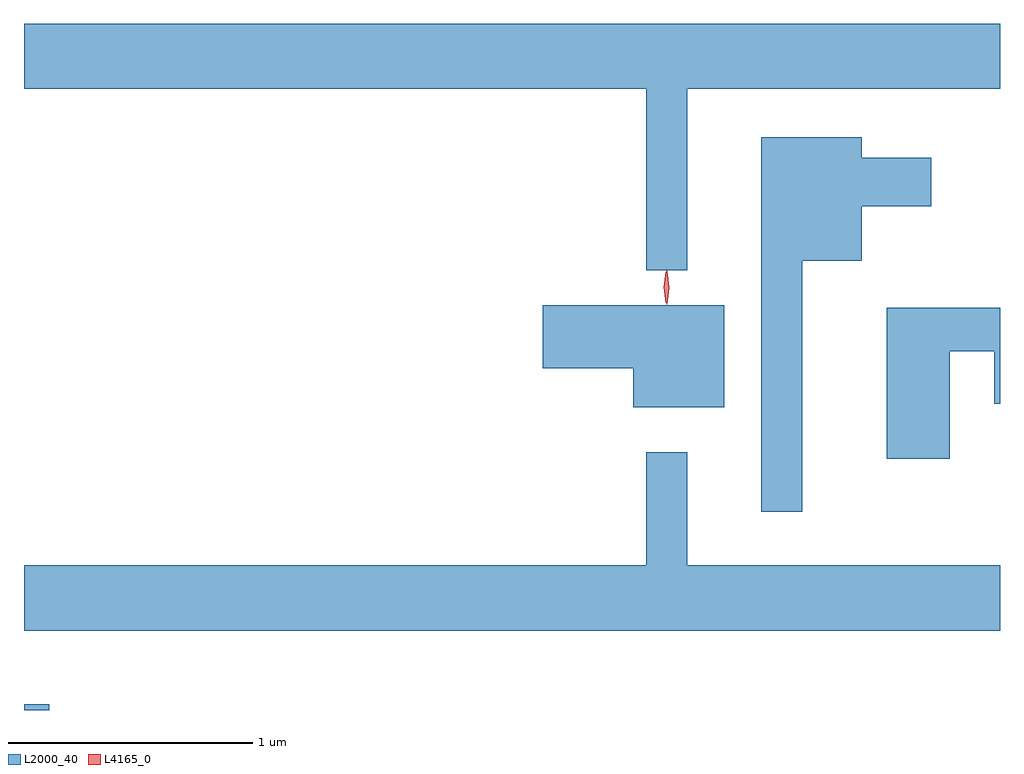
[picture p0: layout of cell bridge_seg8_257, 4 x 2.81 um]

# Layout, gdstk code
import gdstk
lib = gdstk.Library(unit=1e-6, precision=1e-09)
def R(c, l, rs):  # rectangles x0, y0, x1, y1
    for r in rs: c.add(gdstk.rectangle(r[:2], r[2:], *l))
def P(c, l, *ps):  # polygons
    for p in ps: c.add(gdstk.Polygon(p, *l))
L2000_40 = (2000, 40)
L4165_0 = (4165, 0)

bridge_seg8_257 = lib.new_cell('bridge_seg8_257')
R(bridge_seg8_257, L2000_40, [(1086.74,1831.649,1086.844,1831.674)])
P(bridge_seg8_257, L2000_40, [(1089.459,1834.196),(1090.74,1834.196),(1090.74,1834.464),(1086.74,1834.464),(1086.74,1834.196),(1089.291,1834.196),(1089.291,1833.453),(1089.459,1833.453)],
  [(1089.929,1833.491),(1090.174,1833.491),(1090.174,1833.716),(1090.459,1833.716),(1090.459,1833.914),(1090.174,1833.914),(1090.174,1833.999),(1089.761,1833.999),(1089.761,1832.463),(1089.929,1832.463)],
  [(1089.609,1833.309),(1088.866,1833.309),(1088.866,1833.051),(1089.236,1833.051),(1089.236,1832.891),(1089.609,1832.891)],
  [(1090.534,1833.121),(1090.716,1833.121),(1090.716,1832.906),(1090.74,1832.906),(1090.74,1833.299),(1090.276,1833.299),(1090.276,1832.681),(1090.534,1832.681)],
  [(1090.74,1832.244),(1089.459,1832.244),(1089.459,1832.708),(1089.291,1832.708),(1089.291,1832.244),(1086.74,1832.244),(1086.74,1831.976),(1090.74,1831.976)])
P(bridge_seg8_257, L4165_0, [(1089.375,1833.314),(1089.366,1833.382),(1089.374,1833.45),(1089.375,1833.45),(1089.376,1833.45),(1089.385,1833.382),(1089.376,1833.314),(1089.376,1833.314)],
  [(1089.371,1833.32),(1089.362,1833.384),(1089.371,1833.446),(1089.372,1833.447),(1089.372,1833.446),(1089.382,1833.384),(1089.372,1833.32),(1089.372,1833.32)])

lib.write_gds('bridge_seg8_257.gds')
